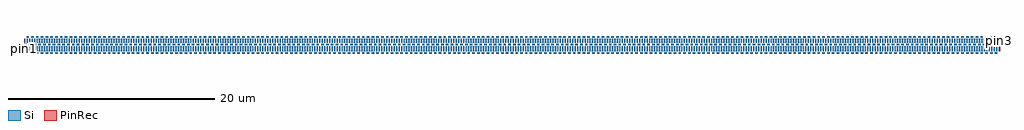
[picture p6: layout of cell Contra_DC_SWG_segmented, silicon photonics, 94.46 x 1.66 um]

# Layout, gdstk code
import gdstk
lib = gdstk.Library(unit=1e-6, precision=1e-09)
def R(c, l, rs):  # rectangles x0, y0, x1, y1
    for r in rs: c.add(gdstk.rectangle(r[:2], r[2:], *l))
def A(c, l, x, y, w, h, nx, ny, dx, dy):  # array of equal rectangles
    R(c, l, [(x+i*dx, y+j*dy, x+i*dx+w, y+j*dy+h) for i in range(nx) for j in range(ny)])
Si = (1, 0)
PinRec = (1, 10)

contra_dc_swg_segmented = lib.new_cell('Contra_DC_SWG_segmented')
A(contra_dc_swg_segmented, Si, 0.172, -0.47, 0.232, 0.12, 203, 2, 0.464, 1.54)
A(contra_dc_swg_segmented, Si, -0.06, -0.25, 0.12, 0.5, 394, 1, 0.24, 0)
A(contra_dc_swg_segmented, Si, -0.06, 0.35, 0.232, 0.12, 204, 1, 0.464, 0)
A(contra_dc_swg_segmented, Si, -0.06, 0.57, 0.12, 0.4, 394, 1, 0.24, 0)
contra_dc_swg_segmented.add(gdstk.FlexPath([(-0.05,0),(-0.07,0)], 0.5, ends="flush", simple_path=True, layer=1, datatype=10))  # PinRec
contra_dc_swg_segmented.add(gdstk.FlexPath([(-0.05,0.77),(-0.07,0.77)], 0.4, ends="flush", simple_path=True, layer=1, datatype=10))  # PinRec
contra_dc_swg_segmented.add(gdstk.FlexPath([(94.37,0.77),(94.39,0.77)], 0.4, ends="flush", simple_path=True, layer=1, datatype=10))  # PinRec
contra_dc_swg_segmented.add(gdstk.FlexPath([(94.37,0),(94.39,0)], 0.5, ends="flush", simple_path=True, layer=1, datatype=10))  # PinRec
contra_dc_swg_segmented.add(gdstk.Label('pin1', (-0.06,0), layer=1, texttype=10))
contra_dc_swg_segmented.add(gdstk.Label('pin2', (-0.06,0.77), layer=1, texttype=10))
contra_dc_swg_segmented.add(gdstk.Label('pin3', (94.38,0.77), layer=1, texttype=10))
contra_dc_swg_segmented.add(gdstk.Label('pin4', (94.38,0), layer=1, texttype=10))

lib.write_gds('Contra_DC_SWG_segmented.gds')
